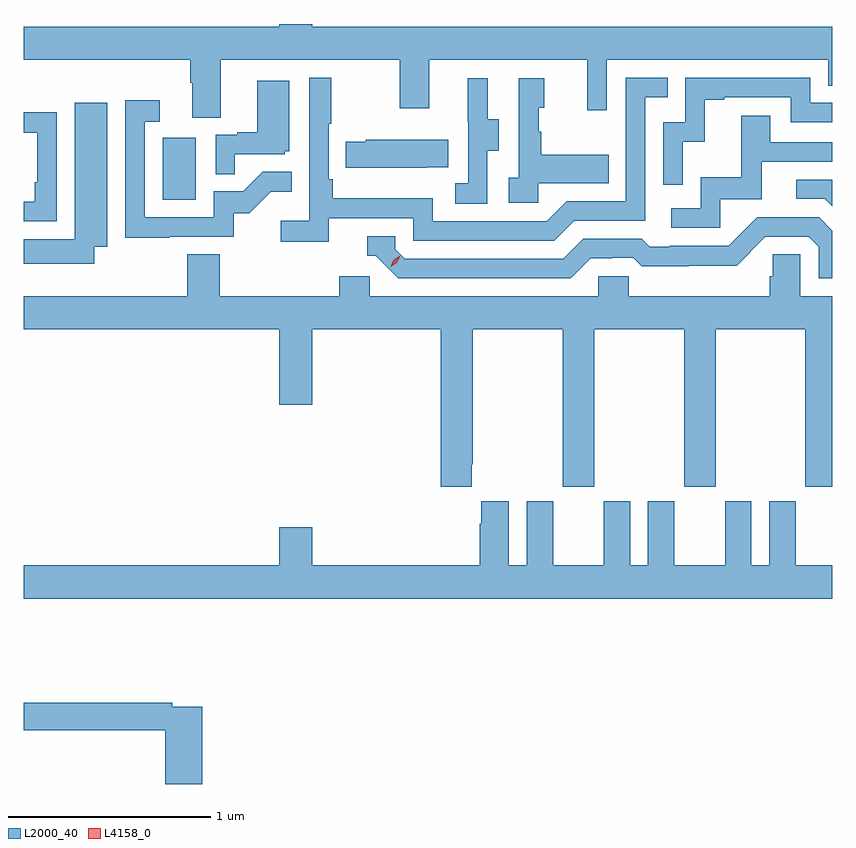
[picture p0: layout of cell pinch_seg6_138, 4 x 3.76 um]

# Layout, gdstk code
import gdstk
lib = gdstk.Library(unit=1e-6, precision=1e-09)
def R(c, l, rs):  # rectangles x0, y0, x1, y1
    for r in rs: c.add(gdstk.rectangle(r[:2], r[2:], *l))
def P(c, l, *ps):  # polygons
    for p in ps: c.add(gdstk.Polygon(p, *l))
L2000_40 = (2000, 40)
L4158_0 = (4158, 0)

pinch_seg6_138 = lib.new_cell('pinch_seg6_138')
R(pinch_seg6_138, L2000_40, [(991.604,922.668,991.768,922.975)])
P(pinch_seg6_138, L2000_40, [(991.891,923.36),(992.776,923.36),(992.776,923.121),(992.923,923.121),(992.923,923.36),(993.704,923.36),(993.704,923.112),(993.801,923.112),(993.801,923.36),(994.896,923.36),(994.896,923.233),(994.916,923.233),(994.916,923.524),(992.344,923.524),(992.344,923.538),(992.18,923.538),(992.18,923.524),(990.916,923.524),(990.916,923.36),(991.739,923.36),(991.739,923.248),(991.751,923.248),(991.751,923.074),(991.891,923.074)],
  [(992.426,922.578),(992.844,922.578),(992.844,922.467),(993.541,922.467),(993.64,922.566),(993.99,922.566),(993.99,923.175),(994.103,923.175),(994.103,923.271),(993.894,923.271),(993.894,922.662),(993.603,922.662),(993.504,922.563),(992.94,922.563),(992.94,922.675),(992.444,922.675),(992.444,922.771),(992.424,922.771),(992.424,923.044),(992.437,923.044),(992.437,923.272),(992.328,923.272),(992.328,922.564),(992.187,922.564),(992.187,922.462),(992.426,922.462)],
  [(994.176,922.955),(994.286,922.955),(994.286,923.163),(994.381,923.163),(994.381,923.175),(994.71,923.175),(994.71,923.052),(994.916,923.052),(994.916,923.148),(994.806,923.148),(994.806,923.271),(994.188,923.271),(994.188,923.052),(994.08,923.052),(994.08,922.743),(994.176,922.743)],
  [(993.21,922.912),(993.265,922.912),(993.265,923.067),(993.211,923.067),(993.211,923.269),(993.113,923.269),(993.113,923.055),(993.114,923.055),(993.114,922.751),(993.051,922.751),(993.051,922.648),(993.21,922.648)],
  [(993.462,922.751),(993.809,922.751),(993.809,922.891),(993.475,922.891),(993.475,923.006),(993.465,923.006),(993.465,923.124),(993.49,923.124),(993.49,923.269),(993.366,923.269),(993.366,922.778),(993.315,922.778),(993.315,922.653),(993.462,922.653)],
  [(991.961,922.893),(992.208,922.893),(992.208,922.908),(992.23,922.908),(992.23,923.257),(992.072,923.257),(992.072,923.002),(991.973,923.002),(991.973,922.989),(991.866,922.989),(991.866,922.795),(991.961,922.795)],
  [(991.637,922.485),(991.956,922.485),(991.956,922.602),(992.032,922.602),(992.139,922.709),(992.243,922.709),(992.243,922.808),(992.099,922.808),(992.001,922.71),(991.857,922.71),(991.857,922.581),(991.515,922.581),(991.515,923.055),(991.588,923.055),(991.588,923.161),(991.419,923.161),(991.419,922.48),(991.637,922.48)],
  [(991.266,922.436),(991.33,922.436),(991.33,923.149),(991.169,923.149),(991.169,922.474),(990.916,922.474),(990.916,922.352),(991.266,922.352)],
  [(991.08,923.102),(990.916,923.102),(990.916,923.001),(990.984,923.001),(990.984,922.756),(990.971,922.756),(990.971,922.66),(990.916,922.66),(990.916,922.563),(991.08,922.563)],
  [(994.362,922.671),(994.567,922.671),(994.567,922.857),(994.916,922.857),(994.916,922.953),(994.609,922.953),(994.609,923.083),(994.465,923.083),(994.465,922.78),(994.266,922.78),(994.266,922.626),(994.119,922.626),(994.119,922.53),(994.362,922.53)],
  [(992.909,922.829),(993.017,922.829),(993.017,922.966),(992.607,922.966),(992.607,922.956),(992.509,922.956),(992.509,922.826),(992.909,922.826)],
  [(994.916,922.767),(994.737,922.767),(994.737,922.674),(994.878,922.674),(994.916,922.636)],
  [(993.721,922.38),(993.828,922.38),(993.828,922.383),(993.931,922.383),(993.973,922.341),(994.206,922.341),(994.206,922.343),(994.442,922.343),(994.584,922.485),(994.8,922.485),(994.848,922.437),(994.848,922.281),(994.916,922.281),(994.916,922.516),(994.851,922.581),(994.545,922.581),(994.404,922.44),(994.111,922.44),(994.111,922.437),(994.012,922.437),(993.973,922.476),(993.684,922.476),(993.585,922.377),(992.802,922.377),(992.754,922.425),(992.754,922.488),(992.615,922.488),(992.615,922.392),(992.658,922.392),(992.769,922.281),(993.622,922.281)],
  [(991.726,922.4),(991.726,922.192),(990.916,922.192),(990.916,922.028),(992.18,922.028),(992.18,921.654),(992.344,921.654),(992.344,922.028),(992.978,922.028),(992.978,921.249),(993.133,921.249),(993.133,921.361),(993.138,921.361),(993.138,922.028),(993.583,922.028),(993.583,921.249),(993.738,921.249),(993.738,922.028),(994.183,922.028),(994.183,921.249),(994.338,921.249),(994.338,922.028),(994.783,922.028),(994.783,921.249),(994.916,921.249),(994.916,922.192),(994.758,922.192),(994.758,922.4),(994.621,922.4),(994.621,922.29),(994.607,922.29),(994.607,922.192),(993.909,922.192),(993.909,922.29),(993.759,922.29),(993.759,922.192),(992.628,922.192),(992.628,922.29),(992.477,922.29),(992.477,922.192),(991.886,922.192),(991.886,922.4)],
  [(994.604,921.178),(994.604,920.86),(994.516,920.86),(994.516,921.178),(994.385,921.178),(994.385,920.86),(994.135,920.86),(994.135,921.178),(994.004,921.178),(994.004,920.86),(993.916,920.86),(993.916,921.178),(993.785,921.178),(993.785,920.86),(993.535,920.86),(993.535,921.178),(993.404,921.178),(993.404,920.86),(993.316,920.86),(993.316,921.178),(993.179,921.178),(993.179,921.065),(993.173,921.065),(993.173,920.86),(992.344,920.86),(992.344,921.049),(992.18,921.049),(992.18,920.86),(990.916,920.86),(990.916,920.696),(994.916,920.696),(994.916,920.86),(994.735,920.86),(994.735,921.178)],
  [(991.799,920.16),(991.652,920.16),(991.652,920.18),(990.916,920.18),(990.916,920.044),(991.616,920.044),(991.616,919.779),(991.799,919.779)])
P(pinch_seg6_138, L4158_0, [(992.732,922.338),(992.732,922.338),(992.747,922.371),(992.778,922.392),(992.778,922.392),(992.778,922.391),(992.762,922.358),(992.732,922.338)])

lib.write_gds('pinch_seg6_138.gds')
